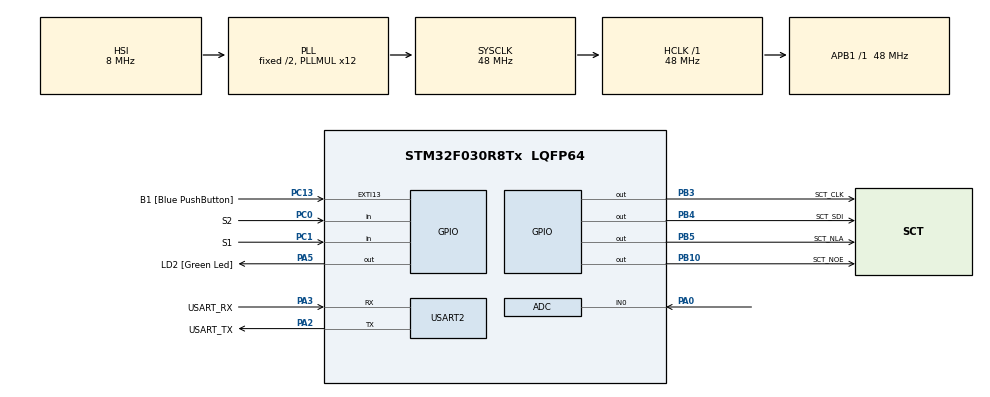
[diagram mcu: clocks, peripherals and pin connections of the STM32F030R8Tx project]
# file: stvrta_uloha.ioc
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ADC.ContinuousConvMode=ENABLE
ADC.Overrun=ADC_OVR_DATA_OVERWRITTEN
ADC.SamplingTime=ADC_SAMPLETIME_239CYCLES_5
Mcu.Family=STM32F0
Mcu.Name=STM32F030R8Tx
Mcu.Package=LQFP64
NVIC.ADC1_IRQn=true\:0\:0\:false\:false\:true\:true\:true\:true
PA0.Mode=IN0
PA0.Signal=ADC_IN0
PA13.GPIO_Label=TMS
PA13.Mode=Serial_Wire
PA13.Signal=SYS_SWDIO
PA14.GPIO_Label=TCK
PA14.Mode=Serial_Wire
PA14.Signal=SYS_SWCLK
PA2.GPIO_Label=USART_TX
PA2.GPIO_Mode=GPIO_MODE_AF_PP
PA2.GPIO_PuPd=GPIO_NOPULL
PA2.GPIO_Speed=GPIO_SPEED_FREQ_LOW
PA2.Mode=Asynchronous
PA2.Signal=USART2_TX
PA3.GPIO_Label=USART_RX
PA3.GPIO_Mode=GPIO_MODE_AF_PP
PA3.GPIO_PuPd=GPIO_NOPULL
PA3.GPIO_Speed=GPIO_SPEED_FREQ_LOW
PA3.Mode=Asynchronous
PA3.Signal=USART2_RX
PA5.GPIO_Label=LD2 [Green Led]
PA5.GPIO_Mode=GPIO_MODE_OUTPUT_PP
PA5.GPIO_PuPd=GPIO_NOPULL
PA5.GPIO_Speed=GPIO_SPEED_FREQ_LOW
PA5.Signal=GPIO_Output
PB10.GPIO_Label=SCT_NOE
PB10.Signal=GPIO_Output
PB3.GPIO_Label=SCT_CLK
PB3.Signal=GPIO_Output
PB4.GPIO_Label=SCT_SDI
PB4.Signal=GPIO_Output
PB5.GPIO_Label=SCT_NLA
PB5.Signal=GPIO_Output
PC0.GPIO_Label=S2
PC0.Signal=GPIO_Input
PC1.GPIO_Label=S1
PC1.Signal=GPIO_Input
PC13.GPIO_Label=B1 [Blue PushButton]
PC13.GPIO_ModeDefaultEXTI=GPIO_MODE_IT_FALLING
PC13.Signal=GPXTI13
PC14-OSC32_IN.Mode=LSE-External-Oscillator
PC14-OSC32_IN.Signal=RCC_OSC32_IN
PC15-OSC32_OUT.Mode=LSE-External-Oscillator
PC15-OSC32_OUT.Signal=RCC_OSC32_OUT
PF0-OSC_IN.Mode=HSE-External-Clock-Source
PF0-OSC_IN.Signal=RCC_OSC_IN
PF1-OSC_OUT.Signal=RCC_OSC_OUT
ProjectManager.HeapSize=0x200
ProjectManager.StackSize=0x400
ProjectManager.TargetToolchain=STM32CubeIDE
RCC.AHBFreq_Value=48000000
RCC.APB1Freq_Value=48000000
RCC.APB1TimFreq_Value=48000000
RCC.HCLKFreq_Value=48000000
RCC.PLLMUL=RCC_PLL_MUL12
RCC.SYSCLKFreq_VALUE=48000000
RCC.SYSCLKSource=RCC_SYSCLKSOURCE_PLLCLK
USART2.VirtualMode-Asynchronous=VM_ASYNC
VP_ADC_TempSens_Input.Mode=IN-TempSens
VP_ADC_Vref_Input.Mode=IN-Vrefint
board=NUCLEO-F030R8

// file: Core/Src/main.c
/* USER CODE BEGIN Header */
/**
  ******************************************************************************
  * @file           : main.c
  * @brief          : Main program body
  ******************************************************************************
  * @attention
  *
  * Copyright (c) 2023 STMicroelectronics.
  * All rights reserved.
  *
  * This software is licensed under terms that can be found in the LICENSE file
  * in the root directory of this software component.
  * If no LICENSE file comes with this software, it is provided AS-IS.
  *
  ******************************************************************************
  */
/* USER CODE END Header */
#include "main.h"

/* USER CODE BEGIN Includes */
#include "sct.h"
/* USER CODE END Includes */

/* USER CODE BEGIN PD */
#define ADC_MAX 4090
#define RANGE_MAX 500
#define LED_MAX 8
#define ADC_Q 12

#define BUTTON_PRESS_DELAY 50

/* Temperature sensor calibration value address */
#define TEMP110_CAL_ADDR ((uint16_t*) ((uint32_t) 0x1FFFF7C2))
#define TEMP30_CAL_ADDR ((uint16_t*) ((uint32_t) 0x1FFFF7B8))

/* Internal voltage reference calibration value address */
#define VREFINT_CAL_ADDR ((uint16_t*) ((uint32_t) 0x1FFFF7BA))
/* USER CODE END PD */

ADC_HandleTypeDef hadc;

UART_HandleTypeDef huart2;

void SystemClock_Config(void);
static void MX_GPIO_Init(void);
static void MX_USART2_UART_Init(void);
static void MX_ADC_Init(void);

/* USER CODE BEGIN 0 */
static volatile uint32_t raw_pot;
static volatile uint32_t raw_temp;
static volatile uint32_t raw_volt;

void HAL_ADC_ConvCpltCallback(ADC_HandleTypeDef* hadc)
{
	static uint32_t channel;
	static uint32_t avg_pot;
	uint32_t raw = HAL_ADC_GetValue(hadc);
	switch (channel){
		// channel 0 is connected to potentiometer
		case 0:
			// exponential averaging
			raw_pot = avg_pot >> ADC_Q;
			avg_pot -= raw_pot;
			avg_pot += raw;
			break;

		case 1:
			raw_temp = raw;
			break;

		case 2:
			raw_volt = raw;
			break;
	}

	if (__HAL_ADC_GET_FLAG(hadc, ADC_FLAG_EOS)){
		channel = 0;
	}else{
		channel++;
	}
}
/* USER CODE END 0 */

int main(void)
{
  /* USER CODE BEGIN 1 */
  static enum { SHOW_POT, SHOW_VOLT, SHOW_TEMP } state = SHOW_POT;
  /* USER CODE END 1 */

  /* MCU Configuration--------------------------------------------------------*/

  /* Reset of all peripherals, Initializes the Flash interface and the Systick. */
  HAL_Init();

  /* USER CODE BEGIN Init */
  sct_init();

  /* USER CODE END Init */

  /* Configure the system clock */
  SystemClock_Config();

  /* Initialize all configured peripherals */
  MX_GPIO_Init();
  MX_USART2_UART_Init();
  MX_ADC_Init();
  /* USER CODE BEGIN 2 */
  HAL_ADCEx_Calibration_Start(&hadc);
  HAL_ADC_Start_IT(&hadc);
  uint32_t set_tick=0;
  /* USER CODE END 2 */

  /* Infinite loop */
  /* USER CODE BEGIN WHILE */
  while (1)
  {
	  // check if buttons are pressed
	  if (HAL_GPIO_ReadPin(S2_GPIO_Port, S2_Pin)==GPIO_PIN_RESET){
		  state = SHOW_VOLT;
		  set_tick = HAL_GetTick();
	  }
	  if (HAL_GPIO_ReadPin(S1_GPIO_Port, S1_Pin)==GPIO_PIN_RESET){
	  	  state = SHOW_TEMP;
	  	  set_tick = HAL_GetTick();
	  }
	  // check if time has passed after button was released
	  if (HAL_GetTick() > (set_tick + BUTTON_PRESS_DELAY)){
		  state = SHOW_POT;
	  }

	  // state machine
	  switch (state){
	  	  case SHOW_POT:
	  		 // first get value of last ADC conversion (raw_pot) and using linear equation convert to range 0-500
	  		  uint32_t in_range = (raw_pot * RANGE_MAX)/ADC_MAX;
	  		  uint32_t number_of_leds = (raw_pot * LED_MAX)/ADC_MAX;
	  		  sct_value(in_range, number_of_leds);
	  		  break;

	  	case SHOW_VOLT:
	  			// show voltage
	  			uint32_t voltage =330 * (*VREFINT_CAL_ADDR) / raw_volt;
	  		  	sct_value(voltage, 42);
	  		  	break;

	  	case SHOW_TEMP:
	  		// show temperature
	  			int32_t temperature = (raw_temp - (int32_t)(*TEMP30_CAL_ADDR));
	  			temperature = temperature * (int32_t)(110 - 30);
	  			temperature = temperature / (int32_t)(*TEMP110_CAL_ADDR - *TEMP30_CAL_ADDR);
	  			temperature = temperature + 30;
	  			sct_value(temperature, 0);
	  			break;
	  }

	  HAL_Delay(50);
    /* USER CODE END WHILE */

  }
}

void SystemClock_Config(void)
{
  RCC_OscInitTypeDef RCC_OscInitStruct = {0};
  RCC_ClkInitTypeDef RCC_ClkInitStruct = {0};

  /** Initializes the RCC Oscillators according to the specified parameters
  * in the RCC_OscInitTypeDef structure.
  */
  RCC_OscInitStruct.OscillatorType = RCC_OSCILLATORTYPE_HSI|RCC_OSCILLATORTYPE_HSI14;
  RCC_OscInitStruct.HSIState = RCC_HSI_ON;
  RCC_OscInitStruct.HSI14State = RCC_HSI14_ON;
  RCC_OscInitStruct.HSICalibrationValue = RCC_HSICALIBRATION_DEFAULT;
  RCC_OscInitStruct.HSI14CalibrationValue = 16;
  RCC_OscInitStruct.PLL.PLLState = RCC_PLL_ON;
  RCC_OscInitStruct.PLL.PLLSource = RCC_PLLSOURCE_HSI;
  RCC_OscInitStruct.PLL.PLLMUL = RCC_PLL_MUL12;
  RCC_OscInitStruct.PLL.PREDIV = RCC_PREDIV_DIV1;
  if (HAL_RCC_OscConfig(&RCC_OscInitStruct) != HAL_OK)
  {
    Error_Handler();
  }

  /** Initializes the CPU, AHB and APB buses clocks
  */
  RCC_ClkInitStruct.ClockType = RCC_CLOCKTYPE_HCLK|RCC_CLOCKTYPE_SYSCLK
                              |RCC_CLOCKTYPE_PCLK1;
  RCC_ClkInitStruct.SYSCLKSource = RCC_SYSCLKSOURCE_PLLCLK;
  RCC_ClkInitStruct.AHBCLKDivider = RCC_SYSCLK_DIV1;
  RCC_ClkInitStruct.APB1CLKDivider = RCC_HCLK_DIV1;

  if (HAL_RCC_ClockConfig(&RCC_ClkInitStruct, FLASH_LATENCY_1) != HAL_OK)
  {
    Error_Handler();
  }
}

static void MX_ADC_Init(void)
{

  ADC_ChannelConfTypeDef sConfig = {0};

  /** Configure the global features of the ADC (Clock, Resolution, Data Alignment and number of conversion)
  */
  hadc.Instance = ADC1;
  hadc.Init.ClockPrescaler = ADC_CLOCK_ASYNC_DIV1;
  hadc.Init.Resolution = ADC_RESOLUTION_12B;
  hadc.Init.DataAlign = ADC_DATAALIGN_RIGHT;
  hadc.Init.ScanConvMode = ADC_SCAN_DIRECTION_FORWARD;
  hadc.Init.EOCSelection = ADC_EOC_SINGLE_CONV;
  hadc.Init.LowPowerAutoWait = DISABLE;
  hadc.Init.LowPowerAutoPowerOff = DISABLE;
  hadc.Init.ContinuousConvMode = ENABLE;
  hadc.Init.DiscontinuousConvMode = DISABLE;
  hadc.Init.ExternalTrigConv = ADC_SOFTWARE_START;
  hadc.Init.ExternalTrigConvEdge = ADC_EXTERNALTRIGCONVEDGE_NONE;
  hadc.Init.DMAContinuousRequests = DISABLE;
  hadc.Init.Overrun = ADC_OVR_DATA_OVERWRITTEN;
  if (HAL_ADC_Init(&hadc) != HAL_OK)
  {
    Error_Handler();
  }

  /** Configure for the selected ADC regular channel to be converted.
  */
  sConfig.Channel = ADC_CHANNEL_0;
  sConfig.Rank = ADC_RANK_CHANNEL_NUMBER;
  sConfig.SamplingTime = ADC_SAMPLETIME_239CYCLES_5;
  if (HAL_ADC_ConfigChannel(&hadc, &sConfig) != HAL_OK)
  {
    Error_Handler();
  }

  /** Configure for the selected ADC regular channel to be converted.
  */
  sConfig.Channel = ADC_CHANNEL_TEMPSENSOR;
  if (HAL_ADC_ConfigChannel(&hadc, &sConfig) != HAL_OK)
  {
    Error_Handler();
  }

  /** Configure for the selected ADC regular channel to be converted.
  */
  sConfig.Channel = ADC_CHANNEL_VREFINT;
  if (HAL_ADC_ConfigChannel(&hadc, &sConfig) != HAL_OK)
  {
    Error_Handler();
  }

}

static void MX_USART2_UART_Init(void)
{

  huart2.Instance = USART2;
  huart2.Init.BaudRate = 38400;
  huart2.Init.WordLength = UART_WORDLENGTH_8B;
  huart2.Init.StopBits = UART_STOPBITS_1;
  huart2.Init.Parity = UART_PARITY_NONE;
  huart2.Init.Mode = UART_MODE_TX_RX;
  huart2.Init.HwFlowCtl = UART_HWCONTROL_NONE;
  huart2.Init.OverSampling = UART_OVERSAMPLING_16;
  huart2.Init.OneBitSampling = UART_ONE_BIT_SAMPLE_DISABLE;
  huart2.AdvancedInit.AdvFeatureInit = UART_ADVFEATURE_NO_INIT;
  if (HAL_UART_Init(&huart2) != HAL_OK)
  {
    Error_Handler();
  }

}

static void MX_GPIO_Init(void)
{
  GPIO_InitTypeDef GPIO_InitStruct = {0};

  /* GPIO Ports Clock Enable */
  __HAL_RCC_GPIOC_CLK_ENABLE();
  __HAL_RCC_GPIOF_CLK_ENABLE();
  __HAL_RCC_GPIOA_CLK_ENABLE();
  __HAL_RCC_GPIOB_CLK_ENABLE();

  /*Configure GPIO pin Output Level */
  HAL_GPIO_WritePin(LD2_GPIO_Port, LD2_Pin, GPIO_PIN_RESET);

  /*Configure GPIO pin Output Level */
  HAL_GPIO_WritePin(GPIOB, SCT_NOE_Pin|SCT_CLK_Pin|SCT_SDI_Pin|SCT_NLA_Pin, GPIO_PIN_RESET);

  /*Configure GPIO pin : B1_Pin */
  GPIO_InitStruct.Pin = B1_Pin;
  GPIO_InitStruct.Mode = GPIO_MODE_IT_FALLING;
  GPIO_InitStruct.Pull = GPIO_NOPULL;
  HAL_GPIO_Init(B1_GPIO_Port, &GPIO_InitStruct);

  /*Configure GPIO pins : S2_Pin S1_Pin */
  GPIO_InitStruct.Pin = S2_Pin|S1_Pin;
  GPIO_InitStruct.Mode = GPIO_MODE_INPUT;
  GPIO_InitStruct.Pull = GPIO_NOPULL;
  HAL_GPIO_Init(GPIOC, &GPIO_InitStruct);

  /*Configure GPIO pin : LD2_Pin */
  GPIO_InitStruct.Pin = LD2_Pin;
  GPIO_InitStruct.Mode = GPIO_MODE_OUTPUT_PP;
  GPIO_InitStruct.Pull = GPIO_NOPULL;
  GPIO_InitStruct.Speed = GPIO_SPEED_FREQ_LOW;
  HAL_GPIO_Init(LD2_GPIO_Port, &GPIO_InitStruct);

  /*Configure GPIO pins : SCT_NOE_Pin SCT_CLK_Pin SCT_SDI_Pin SCT_NLA_Pin */
  GPIO_InitStruct.Pin = SCT_NOE_Pin|SCT_CLK_Pin|SCT_SDI_Pin|SCT_NLA_Pin;
  GPIO_InitStruct.Mode = GPIO_MODE_OUTPUT_PP;
  GPIO_InitStruct.Pull = GPIO_NOPULL;
  GPIO_InitStruct.Speed = GPIO_SPEED_FREQ_LOW;
  HAL_GPIO_Init(GPIOB, &GPIO_InitStruct);

}

void Error_Handler(void)
{
  __disable_irq();
  while (1)
  {
  }
}
